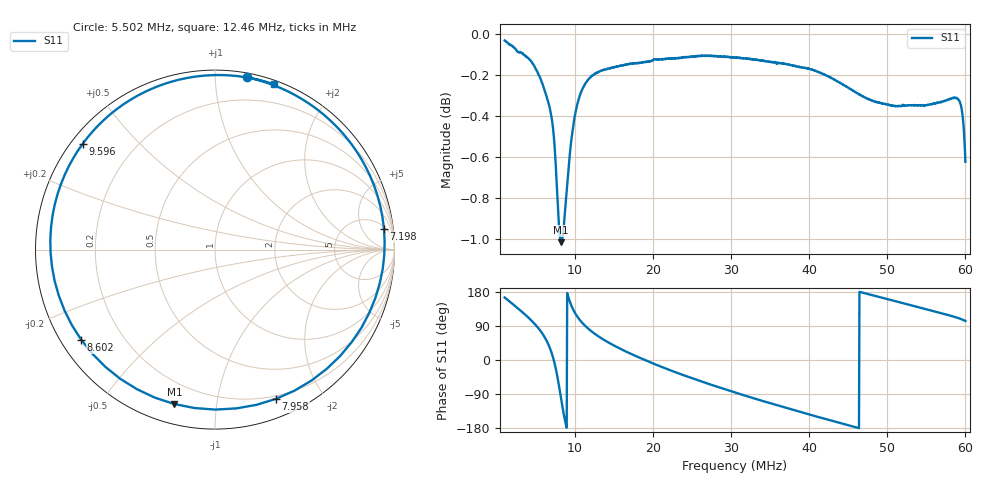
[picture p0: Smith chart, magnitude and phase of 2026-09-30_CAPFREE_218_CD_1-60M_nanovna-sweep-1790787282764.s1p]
! NanoVNA Web complex sweep
! Processing: unaveraged complex samples; linear segment spacing; no smoothing
# Hz S RI R 50
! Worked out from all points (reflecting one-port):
!   1010 points, 1 MHz to 60 MHz, reference 50 ohm
!   lowest |S11| = -1.0 dB at 8.251 MHz (marker M1), VSWR 17.15, Z = 4.64 - j38.3 ohm
!   phase of S11 starts at 165 deg and turns -782 deg over the sweep
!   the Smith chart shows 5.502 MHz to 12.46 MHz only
!   S11 on the Smith chart (normalised r, x): 5.502 MHz: 0.03, +1.21; 7.198 MHz: 6, +14; 7.958 MHz: 0.17, -1.48; 8.602 MHz: 0.06, -0.30; 9.596 MHz: 0.03, +0.35; 12.46 MHz: 0.03, +1.42
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1000000  -0.9621 0.2585
3338960  -0.5673 0.8097
4508440  -0.2144 0.9603
5502498  0.1809 0.9591
6438082  0.6402 0.7212
6847400  0.8387 0.4627
7198244  0.9417 0.1135
7607562  0.8162 -0.4349
7958406  0.3405 -0.8311
8250776  -0.2266 -0.8604
8426198  -0.5281 -0.7198
8601620  -0.7456 -0.5022
9010938  -0.9175 0.0545
9595678  -0.7362 0.5906
1.006347e7  -0.5123 0.8078
1.070668e7  -0.2276 0.9396
1.24609e7  0.3285 0.9205
1.579392e7  0.8524 0.488
1.918541e7  0.9838 -0.0359
2.316165e7  0.8136 -0.5579
2.684551e7  0.4757 -0.8655
3.052937e7  0.0704 -0.9842
3.403781e7  -0.3067 -0.9361
3.789709e7  -0.65 -0.7364
4.526482e7  -0.9635 -0.1064
5.263254e7  -0.8023 0.5283
5.719351e7  -0.5112 0.8161
6.000027e7  -0.2114 0.9065
